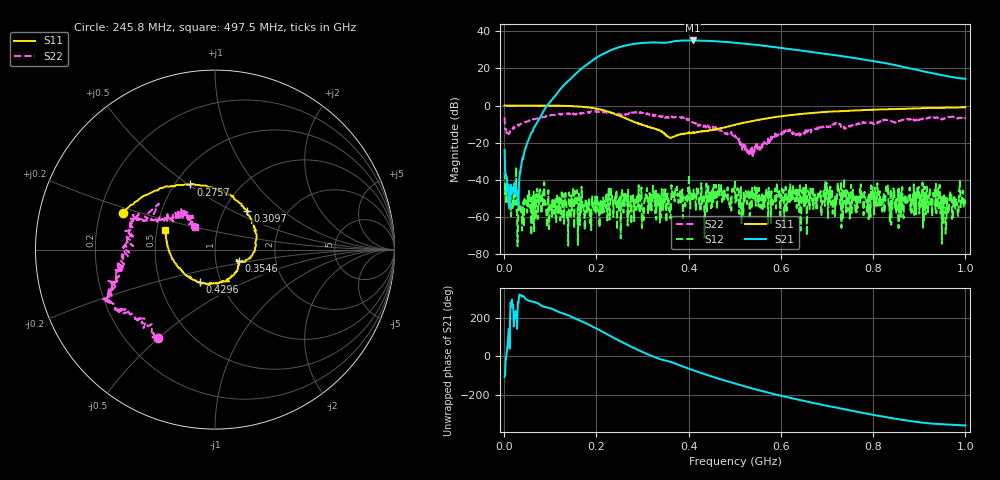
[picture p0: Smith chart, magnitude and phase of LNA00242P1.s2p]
! Created with skrf 1.9.0 (http://scikit-rf.org).
# Hz S RI R 50.0
!freq ReS11 ImS11 ReS21 ImS21 ReS12 ImS12 ReS22 ImS22
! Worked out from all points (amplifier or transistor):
!   1001 points, 1 MHz to 1 GHz, reference 50 ohm
!   highest |S21| = 35.0 dB at 408.6 MHz (marker M1)
!   |S21| within 3 dB of that: 259 MHz to 568 MHz (309.1 MHz wide, 74.7 % of centre)
!   unconditionally stable (mu >= 1): 1.498 MHz to 86.41 MHz; 230.8 MHz to 322.6 MHz; 401 MHz to end of sweep (the widest 3 of 19)
!   at 166.8 MHz: K = 3.15, MAG = 31.0 dB, |S12| = -58.2 dB
!   at 500.5 MHz: K = 1.26, MAG = 34.3 dB, |S12| = -40.9 dB
!   at 1 GHz: K = 6.41, MAG = 22.6 dB, |S12| = -53.0 dB
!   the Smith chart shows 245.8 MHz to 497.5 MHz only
!   S11 on the Smith chart (normalised r, x): 245.8 MHz: 0.30, +0.18; 275.7 MHz: 0.60, +0.51; 309.7 MHz: 1.28, +0.60; 354.6 MHz: 1.29, -0.17; 429.6 MHz: 0.80, -0.30; 497.5 MHz: 0.55, +0.13
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1000000  1.003 0.013  -0.0184 -0.0614  -0.0102 0.0125  0.3531 0.3265
1.07893e8  0.5205 -0.8471  -0.7513 -1.479  0.000832 -0.00296  0.4114 -0.3789
1.67833e8  -0.2505 -0.8912  -9.828 -0.5294  0.00394 -0.00524  0.0385 -0.6363
2.11789e8  -0.6907 -0.3354  -15.13 17.92  -0.00232 -0.000539  -0.1891 -0.6471
2.45755e8  -0.5151 0.2046  2.154 35.72  -0.00188 -0.00154  -0.3194 -0.4929
2.75725e8  -0.1373 0.3632  28.43 33.75  0.000158 0.000634  -0.5632 -0.3348
3.09691e8  0.181 0.2157  47.94 10.63  -0.0055 0.00256  -0.5986 -0.1741
3.34666e8  0.2197 -0.00995  48.13 -9.625  0.00284 0.00298  -0.5054 -0.0839
3.54646e8  0.1327 -0.0654  44.92 -20.7  -0.00238 0.0036  -0.4705 0.0503
3.75625e8  0.1265 -0.0939  40.64 -36.53  0.00228 0.00293  -0.4687 0.1733
4.08592e8  0.02 -0.1885  18.05 -53.1  0.000968 0.00393  -0.3086 0.1812
4.29571e8  -0.0839 -0.1811  1.577 -55.01  0.00153 0.00144  -0.209 0.1897
4.59541e8  -0.2132 -0.085  -19.89 -49.38  0.00717 0.00159  -0.1551 0.2092
4.97503e8  -0.2784 0.109  -37.2 -31.85  0.00257 0.00342  -0.1106 0.1235
5.005e8  -0.2714 0.1315  -38.3 -30.29  0.00629 -0.00644  -0.1372 0.0807
5.4046e8  -0.1991 0.3331  -42.43 -8.696  0.00264 -0.00173  -0.0473 0.02
5.88412e8  0.00598 0.4891  -35.07 11.55  0.00308 -0.000964  -0.125 -0.075
6.28372e8  0.201 0.5303  -24.17 20.54  0.00283 -0.00444  -0.1557 -0.0956
6.67333e8  0.3894 0.4963  -13.26 23.74  0.00269 -0.000582  -0.2248 -0.0437
7.53247e8  0.6711 0.2879  4.166 18.92  0.00124 -0.000348  -0.2821 0.0184
8.34166e8  0.7936 0.0259  9.9 8.729  -0.000712 -0.00176  -0.398 0.0268
1e9  0.734 -0.5157  5.229 0.0808  0.00224 -5.32e-05  -0.3056 0.3779
